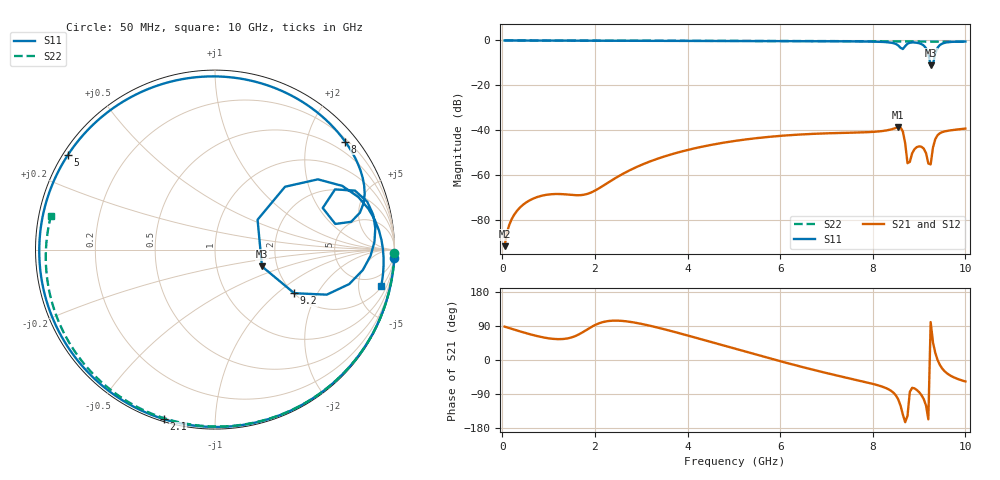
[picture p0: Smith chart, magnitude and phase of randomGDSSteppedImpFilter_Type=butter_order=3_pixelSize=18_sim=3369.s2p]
! freq	dB(S11)	phase(S11)	dB(S12)	phase(S12)
!  dB(S21)	phase(S21)	dB(S22)	phase(S22)
!S-par simulation data
#  GHz  S  DB  R 50
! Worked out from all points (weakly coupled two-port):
!   200 points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, 50 MHz to 10 GHz, reference 50 ohm
!   highest |S21| = -38.71 dB at 8.55 GHz (marker M1); lowest = -91.8 dB at 50 MHz (marker M2)
!   lowest |S11| = -11.1 dB at 9.25 GHz (marker M3), VSWR 1.77, Z = 83.3 - j16.9 ohm
!   |S11| at or under -10 dB: 9.239 GHz to 9.307 GHz (68.19 MHz wide, 0.735 % of centre)
!   |S22| runs from -0.6 to 0.0 dB; largest |S21 - S12| = 0
!   S11 on the Smith chart (normalised r, x): 50 MHz: 0, -40; 2.1 GHz: 0.01, -0.74; 5 GHz: 0.01, +0.29; 8 GHz: 0.26, +2.75; 9.2 GHz: 2.01, -1.31; 10 GHz: 2.15, -8.66
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0.05  -0.00 -2.8  -91.79 88.1  -91.79 88.1  -0.00 -1.1
0.8  -0.06 -44.1  -69.57 61.8  -69.57 61.8  -0.02 -17.8
1.75  -0.10 -91.3  -68.87 74.3  -68.87 74.3  -0.05 -38.6
2.1  -0.12 -106.9  -65.82 97.3  -65.82 97.3  -0.06 -46.0
3.4  -0.16 -157.7  -52.44 84.2  -52.44 84.2  -0.10 -72.6
4.2  -0.19 174.4  -47.91 58.0  -47.91 58.0  -0.12 -88.1
5  -0.22 147.4  -44.90 30.6  -44.90 30.6  -0.16 -102.9
5.05  -0.23 145.7  -44.75 28.8  -44.75 28.8  -0.16 -103.8
6.7  -0.31 88.9  -41.68 -25.4  -41.68 -25.4  -0.26 -133.0
8  -0.51 39.6  -40.80 -63.0  -40.80 -63.0  -0.37 -155.4
8.35  -0.87 23.2  -39.93 -77.9  -39.93 -77.9  -0.40 -161.5
8.55  -2.22 11.5  -38.71 -104.0  -38.71 -104.0  -0.42 -165.1
8.65  -3.83 21.1  -40.62 -144.4  -40.62 -144.4  -0.43 -166.8
8.75  -1.45 22.9  -54.76 -147.3  -54.76 -147.3  -0.44 -168.6
9  -1.23 -2.2  -47.26 -84.8  -47.26 -84.8  -0.47 -173.1
9.1  -2.25 -14.4  -48.25 -103.1  -48.25 -103.1  -0.49 -174.9
9.2  -5.96 -28.8  -54.91 -156.5  -54.91 -156.5  -0.50 -176.7
9.25  -11.12 -19.7  -55.30 100.1  -55.30 100.1  -0.50 -177.6
9.3  -10.76 35.1  -47.78 46.5  -47.78 46.5  -0.51 -178.5
9.4  -3.17 34.3  -42.24 -0.1  -42.24 -0.1  -0.52 179.7
9.6  -0.86 10.5  -40.36 -34.9  -40.36 -34.9  -0.55 176.0
10  -0.46 -12.4  -39.32 -56.6  -39.32 -56.6  -0.60 168.5
